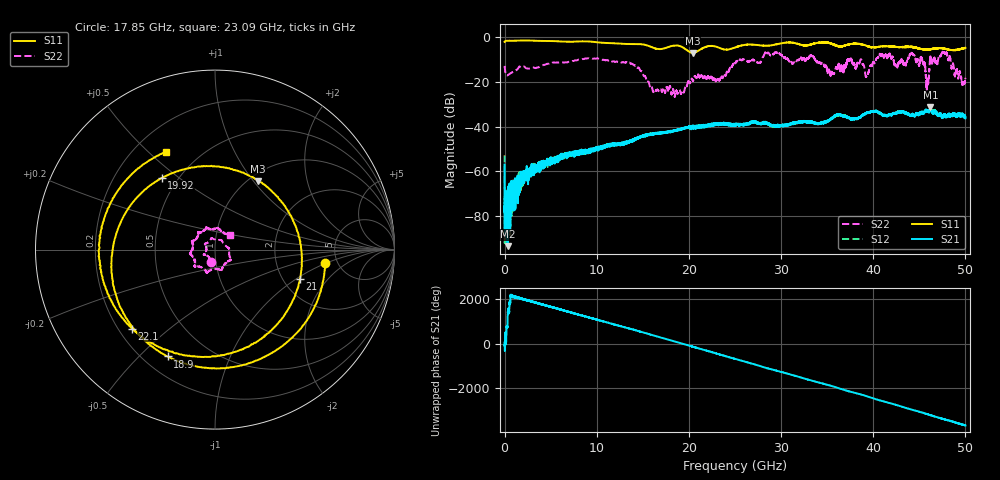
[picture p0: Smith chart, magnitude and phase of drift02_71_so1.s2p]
!Created with skrf (http://scikit-rf.org).
# Hz S RI R 50.0
!freq ReS11 ImS11 ReS21 ImS21 ReS12 ImS12 ReS22 ImS22
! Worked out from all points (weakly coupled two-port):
!   10001 points, 300 kHz to 50 GHz, reference 50 ohm
!   highest |S21| = -31.23 dB at 46.2 GHz (marker M1); lowest = -93.5 dB at 315.3 MHz (marker M2)
!   lowest |S11| = -6.9 dB at 20.41 GHz (marker M3), VSWR 2.64, Z = 55.2 + j52.9 ohm
!   |S11| at or under -10 dB: nowhere
!   |S22| runs from -26.6 to -6.4 dB; largest |S21 - S12| = 0.0033
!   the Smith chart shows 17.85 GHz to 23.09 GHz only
!   S11 on the Smith chart (normalised r, x): 17.85 GHz: 3.99, -0.94; 18.9 GHz: 0.29, -0.61; 19.92 GHz: 0.41, +0.43; 21 GHz: 2.48, -1.06; 22.1 GHz: 0.25, -0.38; 23.09 GHz: 0.33, +0.57
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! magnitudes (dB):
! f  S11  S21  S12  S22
! 300 kHz  -2.0  -56.9  -52.8  -12.7
! 315.3 MHz  -1.4  -93.5  -71.5  -17.0
! 2.985 GHz  -1.4  -60.1  -60.2  -13.5
! 8.335 GHz  -1.7  -51.1  -52.0  -9.7
! 13.7 GHz  -2.9  -46.5  -46.6  -11.7
! 16.67 GHz  -5.2  -42.8  -42.7  -23.8
! 17.85 GHz  -4.2  -42.3  -42.2  -22.9
! 18.9 GHz  -3.7  -41.4  -41.2  -23.9
! 19.92 GHz  -6.1  -40.4  -40.3  -19.8
! 20.41 GHz  -6.9  -40.4  -40.2  -19.1
! 21 GHz  -6.0  -39.5  -39.9  -16.7
! 22.1 GHz  -3.9  -39.4  -39.4  -17.6
! 23.09 GHz  -4.3  -39.0  -38.9  -18.9
! 25 GHz  -4.5  -38.9  -39.0  -11.5
! 33.34 GHz  -3.0  -38.1  -37.9  -8.3
! 39.32 GHz  -3.8  -33.7  -33.7  -17.1
! 41.67 GHz  -4.0  -34.6  -34.6  -7.8
! 44.28 GHz  -4.4  -34.8  -34.6  -7.5
! 45.86 GHz  -5.4  -33.0  -33.0  -20.7
! 46.2 GHz  -5.2  -31.2  -31.7  -9.2
! 47.76 GHz  -5.0  -34.5  -34.5  -6.8
! 50 GHz  -4.7  -36.2  -35.8  -18.6
